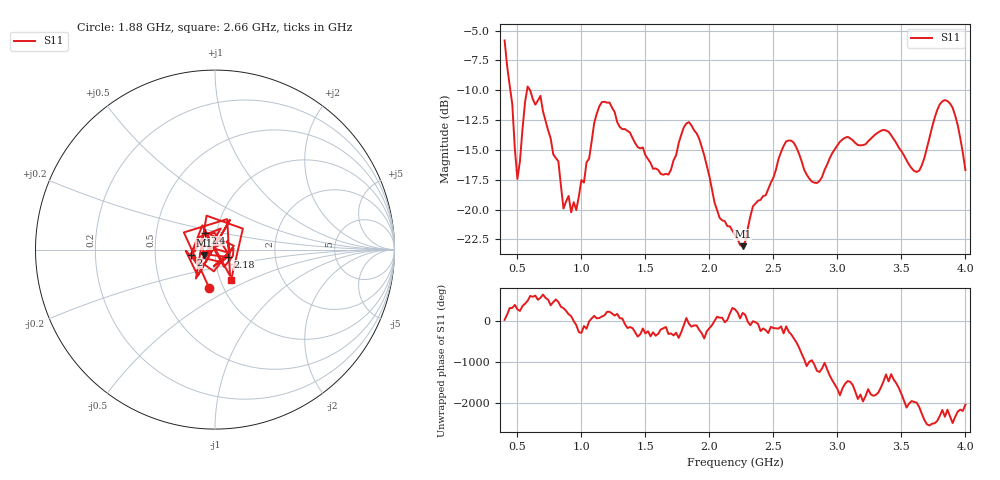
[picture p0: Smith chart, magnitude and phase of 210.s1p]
!Created with skrf (http://scikit-rf.org).
# Hz S RI R 50.0
!freq ReS11 ImS11
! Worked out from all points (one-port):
!   181 points, 400 MHz to 4 GHz, reference 50 ohm
!   lowest |S11| = -23.1 dB at 2.26 GHz (marker M1), VSWR 1.15, Z = 44.1 - j2.9 ohm
!   |S11| at or under -10 dB: 444.9 MHz to 575.1 MHz (130.2 MHz wide, 25.5 % of centre); 599.2 MHz to end of sweep
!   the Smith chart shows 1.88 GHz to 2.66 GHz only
!   S11 on the Smith chart (normalised r, x): 1.88 GHz: 0.85, -0.38; 2 GHz: 0.76, -0.04; 2.18 GHz: 1.15, -0.09; 2.4 GHz: 0.88, +0.17; 2.66 GHz: 1.13, -0.39
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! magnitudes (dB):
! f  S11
! 400 MHz  -5.8
! 460 MHz  -11.2
! 500 MHz  -17.4
! 580 MHz  -9.7
! 680 MHz  -10.5
! 820 MHz  -16.0
! 860 MHz  -19.9
! 960 MHz  -20.0
! 1.16 GHz  -11.0
! 1.3 GHz  -13.1
! 1.64 GHz  -17.1
! 1.76 GHz  -14.4
! 1.88 GHz  -13.4
! 2 GHz  -17.2
! 2.08 GHz  -20.7
! 2.18 GHz  -21.8
! 2.2 GHz  -22.1
! 2.26 GHz  -23.1
! 2.4 GHz  -19.2
! 2.66 GHz  -14.4
! 2.84 GHz  -17.8
! 3.1 GHz  -14.0
! 3.38 GHz  -13.4
! 3.56 GHz  -16.2
! 3.64 GHz  -16.7
! 3.84 GHz  -10.8
! 3.92 GHz  -12.1
! 4 GHz  -16.7
